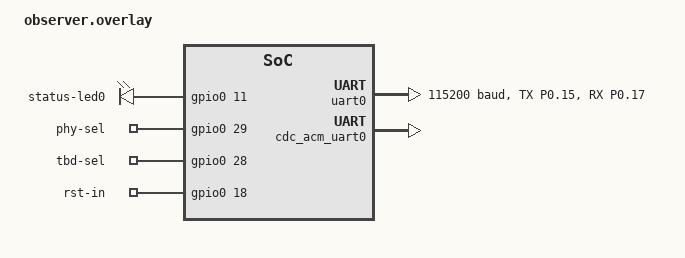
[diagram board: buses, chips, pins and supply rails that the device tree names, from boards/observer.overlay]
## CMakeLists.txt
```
cmake_minimum_required(VERSION 3.20.0)
find_package(Zephyr REQUIRED HINTS $ENV{ZEPHYR_BASE})
project(observer_board)

zephyr_include_directories(include)

FILE(GLOB app_sources src/*.c)
target_sources(app PRIVATE ${app_sources})
```

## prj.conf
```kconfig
# ===== Core =====
CONFIG_LOG=y
CONFIG_LOG_DEFAULT_LEVEL=3
CONFIG_PRINTK=y
CONFIG_MAIN_STACK_SIZE=2048
CONFIG_HEAP_MEM_POOL_SIZE=1024

# ===== Clocks =====
CONFIG_CLOCK_CONTROL=y
CONFIG_CLOCK_CONTROL_NRF_K32SRC_XTAL=y

# ===== IO / UART =====
CONFIG_GPIO=y
CONFIG_SERIAL=y
CONFIG_CONSOLE=y
CONFIG_UART_CONSOLE=y

# ===== USB (CDC-ACM) =====
CONFIG_USB_DEVICE_STACK=y
CONFIG_USB_CDC_ACM=y
CONFIG_USB_DEVICE_INITIALIZE_AT_BOOT=y

# CONFIG_USB_DEVICE_VID=0x1915
# CONFIG_USB_DEVICE_PID=0xC00A
CONFIG_USB_DEVICE_PID=0x0001
CONFIG_USB_DEVICE_PRODUCT="BLE Observer"
CONFIG_USB_DEVICE_MANUFACTURER="AERIX"


# ===== BLE 스캔 =====
CONFIG_BT=y
# 스캐너
CONFIG_BT_OBSERVER=y
# 확장 광고 수신
CONFIG_BT_EXT_ADV=y
# 스캔 설정
CONFIG_BT_SCAN_WITH_IDENTITY=n
# 메인 스택 여유
CONFIG_MAIN_STACK_SIZE=2048
```

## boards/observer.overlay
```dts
/ {
    leds {
        compatible = "gpio-leds";
        status_led0: led_0 {
            gpios = <&gpio0 11 GPIO_ACTIVE_HIGH>; /* P0.11 */
            label = "status-led0";
        };
    };

    aliases {
        led0 = &status_led0;
    };

    /* 콘솔 강제 지정 */
    chosen {
        zephyr,console = &uart0;
        zephyr,shell-uart = &uart0;
    };

    keys {
        compatible = "gpio-keys";

        phy_sel: phy_sel {
            gpios = <&gpio0 29 GPIO_ACTIVE_HIGH>; /* P0.29 */
            label = "phy-sel";
        };

        tbd_sel: tbd_sel {
            gpios = <&gpio0 28 GPIO_ACTIVE_HIGH>; /* P0.28 */
            label = "tbd-sel";
        };

        rst_in: rst_in {
            gpios = <&gpio0 18 GPIO_ACTIVE_HIGH>; /* P0.18 */
            label = "rst-in";
        };
    };
};

/* UART0 @115200: TX=P0.15, RX=P0.17 */
&uart0 {
    status = "okay";
    current-speed = <115200>;
    pinctrl-0 = <&uart0_obs_default>;
    pinctrl-1 = <&uart0_obs_sleep>;
    pinctrl-names = "default", "sleep";
};

/* Pin control groups */
&pinctrl {
    uart0_obs_default: uart0_obs_default {
        group1 {
            psels = <NRF_PSEL(UART_TX, 0, 15)>,
                    <NRF_PSEL(UART_RX, 0, 17)>;
            bias-pull-up;
        };
    };

    uart0_obs_sleep: uart0_obs_sleep {
        group1 {
            psels = <NRF_PSEL(UART_TX, 0, 15)>,
                    <NRF_PSEL(UART_RX, 0, 17)>;
            low-power-enable;
        };
    };
};

/* Enable USB device controller.*/
&zephyr_udc0 {
	cdc_acm_uart0 {
		compatible = "zephyr,cdc-acm-uart";
	};
};
```

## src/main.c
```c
/**
 * @file main.c
 * @brief Observer Board (USB CDC + UART 로그 + BLE 스캔)
 */

#include <zephyr/kernel.h>
#include <zephyr/device.h>
#include <zephyr/devicetree.h>
#include <zephyr/drivers/uart.h>
#include <zephyr/logging/log.h>
LOG_MODULE_REGISTER(main, LOG_LEVEL_INF);

#include "gpio_if.h"
#include "usb_dev.h"
#include "ble_adv.h"

/* UART0 디바이스 */
static const struct device *const uart0_dev = DEVICE_DT_GET(DT_NODELABEL(uart0));
/**
 * @brief UART 장치를 사용하여 문자열을 폴링 방식으로 출력합니다.
 * @param dev 문자열을 출력할 UART 장치 포인터.
 * @param s 출력할 Null 종료 문자열.
 */

static inline void _uart_puts(const struct device *dev, const char *s)
{
    if (!dev || !device_is_ready(dev) || !s)
        return;
    while (*s)
        uart_poll_out(dev, (unsigned char)(*s++));
}
/**
 * @brief 메인 실행 루프입
 * @return 0: 정상 종료이나 무한루프로 도달하지 않음.
 */

int main(void)
{
    /*  LED init */
    (void)gpio_if_init();

    /*  USB CDC init + DTR wait (5s) */
    Init_usbdev(5000);

    /*  Print boot message */
    const char *BOOT_MSG =
        "\r\n======================================\r\n"
        " Observer Board FW Boot Initializing\r\n"
        "======================================\r\n";
    usbdev_puts(BOOT_MSG);           /*  USB CDC 전송 */
    _uart_puts(uart0_dev, BOOT_MSG); /*  UART0   전송 */

    /*  ble 시작 */
    (void)ble_rx_start();

    /* 디버깅용 코드 */


    while (1)
    {
        gpio_if_led_toggle();
        k_sleep(K_SECONDS(1));
    }
    return 0;
}
```

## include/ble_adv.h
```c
/**
 * @file ble_adv.h
 * @brief BLE Observer (scan) for Company ID 0xFFFF
 */
#pragma once

/** * @brief Bluetooth를 활성화하고 지정된 파라미터로 BLE Active Scan을 시작합니다.
 * @return 0: 성공, 음수: 실패 (bt_enable 또는 스캔 시작 오류)
 */
int ble_rx_start(void); /** bt_enable + scan start */
```

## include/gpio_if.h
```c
/**
 * @file gpio_if.h
 * @brief LED GPIO abstraction
 */
#pragma once
#include <zephyr/kernel.h>

/**
 * @brief LED GPIO 인터페이스를 초기화하고 핀을 출력 비활성(INACTIVE) 상태로 설정합니다.
 * @return 0 이상: 성공, 음수: 실패 (-ENODEV, 설정 오류 등)
 */
int gpio_if_init(void);

/**
 * @brief LED를 웁니다 (ACTIVE 상태로 설정).
 */
void gpio_if_led_on(void);

/**
 * @brief LED를 끕니다 (INACTIVE 상태로 설정).
 */
void gpio_if_led_off(void);

/**
 * @brief LED의 현재 상태를 토글합니다.
 */
void gpio_if_led_toggle(void);
```

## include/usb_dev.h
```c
/**
 * @file usb_dev.h
 * @brief USB CDC device helper (enable + DTR wait + write)
 */
#pragma once
#include <zephyr/kernel.h>
#include <stdbool.h>

/** * @brief USB 장치를 활성화하고 호스트가 DTR 신호를 보낼 때까지 지정된 시간(ms) 동안 대기합니다.
 * If no CDC present, it safely returns.
 * @param timeout_ms DTR 신호를 기다릴 최대 시간 (밀리초).
 */
void Init_usbdev(int32_t timeout_ms);

/** * @brief C-문자열을 USB CDC 포트로 출력합니다 (CDC가 준비되지 않은 경우 아무 작업도 하지 않습니다).
 * @param s USB CDC로 출력할 Null 종료 문자열.
 */
void usbdev_puts(const char *s);

/** * @brief USB CDC 장치가 존재하고 준비되었는지 확인합니다 (DTR 상태는 요구하지 않음).
 * @return true: CDC 장치가 존재하고 초기화 준비됨, false: 그렇지 않음.
 */
bool usbdev_is_ready(void);
```

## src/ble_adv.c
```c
/**
 * @file ble_adv.c
 * @brief BLE active scan + filter CID=0xFFFF, parse adv data
 */

#include "ble_adv.h"

#include <zephyr/kernel.h>
#include <zephyr/logging/log.h>
#include <zephyr/bluetooth/bluetooth.h>
#include <zephyr/bluetooth/hci.h>
#include <zephyr/sys/byteorder.h>
#include <string.h>

LOG_MODULE_REGISTER(ble_adv, LOG_LEVEL_INF);

/** ----- Common defs ----- */
#define CID_TARGET 0xFFFF // 제조사 ID
#define NAME_BUF_LEN 32   // 장치 이름 버퍼의 최대 길이

/** @brief 센서 광고 데이터 구조체 */
struct sensor_adv_data_t
{
    uint16_t company_id;       // 제조사 ID.
    uint8_t structure_version; // 데이터 구조체 버전.
    uint8_t model_code;        // 장치 모델 코드.
    uint8_t device_status;     // 장치 상태 플래그.
    uint8_t error_info;        // 에러 정보 코드.
    int8_t mcu_temperature;    // MCU 온도 (°C).
    uint8_t battery_percent;   // 배터리 잔량 (%).
    uint8_t value_presence_mask;
    int32_t sensor_value_1;
    int32_t sensor_value_2;
    int32_t sensor_value_3;
    int32_t sensor_value_4;
    int32_t sensor_value_5;
    int32_t sensor_value_6;
} __packed;

#define PHASE2_SR_LEN (2 + 1 + 1 + 1 + 2) // 스캔 응답(SR) 데이터의 길이(CID + ver + reg + model + fw)

/** @brief BLE 광고/스캔 응답 파싱 결과를 저장하는 컨텍스트 구조체 */
struct parse_ctx
{
    bool mfg_match;          // CID_TARGET과 제조사 데이터가 일치하는지 여부.
    bool is_phase1_struct;   // 데이터 길이가 확장광고 구조체와 일치하는지 여부.
    bool is_phase2_meta;     // 데이터 길이가 스캔응답 데이터와 일치하는지 여부.
    char name[NAME_BUF_LEN]; // 장치 이름 버퍼.
    bool has_name;           // 장치 이름(AD Type 0x08 또는 0x09)이 발견되었는지 여부.
    struct sensor_adv_data_t s1;
    uint8_t s2_ver, s2_reg_mode, s2_model, s2_fw_major, s2_fw_minor;
};

/**
 * @brief BLE 광고 타입 코드를 문자열로 변환합니다.
 * @param type BLE 광고 타입 코드 (예: BT_GAP_ADV_TYPE_ADV_IND).
 * @return 광고 타입을 나타내는 문자열.
 */
static inline const char *adv_type_str(uint8_t type)
{
    switch (type) // 수신된 광고의 타입 코드를 검사합니다.
    {
    case BT_GAP_ADV_TYPE_ADV_IND: // 연결 가능하고 스캔 가능한 비지향성 광고.
        return "ADV_IND";
    case BT_GAP_ADV_TYPE_ADV_DIRECT_IND: // 연결 가능한 지향성 광고.
        return "ADV_DIRECT_IND";
    case BT_GAP_ADV_TYPE_ADV_SCAN_IND: // 연결 불가능하고 스캔 가능한 비지향성 광고.
        return "ADV_SCAN_IND";
    case BT_GAP_ADV_TYPE_ADV_NONCONN_IND: // 연결 및 스캔 불가능한 비지향성 광고.
        return "ADV_NONCONN_IND";
    case BT_GAP_ADV_TYPE_SCAN_RSP: // 스캔 응답.
        return "SCAN_RSP";
    case BT_GAP_ADV_TYPE_EXT_ADV: // 확장 광고 (LE Coded PHY 등).
        return "EXT_ADV";
    default: // 알려지지 않은 타입.
        return "UNKNOWN";
    }
}
/**
 * @brief 주어진 바이트 배열을 16진수 문자열로 출력합니다.
 * @param p 출력할 바이트 배열의 포인터.
 * @param len 출력할 바이트의 길이.
 */

static void dump_hex(const uint8_t *p, size_t len)
{
    for (size_t i = 0; i < len; i++)
    {
        printk("%02X", p[i]);
        if (i + 1 < len)
            printk(" ");
    }
    printk("\n");
}
/**
 * @brief BLE 광고 데이터 구조체를 파싱하고, 특정 Company ID(0xFFFF)와 데이터 구조체를 찾습니다.
 * @param data 파싱할 광고 데이터 구조체 (type/data/data_len).
 * @param user_data 파싱 결과를 저장할 parse_ctx 구조체 포인터.
 * @return true: 파싱 계속, false: 파싱 중지.
 */

static bool parse_cb(struct bt_data *data, void *user_data)
{
    struct parse_ctx *ctx = user_data;

    switch (data->type) // 광고 데이터 타입 검사
    {
    case BT_DATA_MANUFACTURER_DATA: // AD Type 0xFF인 경우
        if (data->data_len >= 2)
        {
            uint16_t cid = sys_get_le16(data->data);
            if (cid == CID_TARGET) //  0xFFFF
            {
                ctx->mfg_match = true;

                if (data->data_len == sizeof(struct sensor_adv_data_t)) // 데이터 길이가 광고 구조체와 일치하면
                {
                    memcpy(&ctx->s1, data->data, sizeof(ctx->s1));
                    ctx->is_phase1_struct = true;
                }
                else if (data->data_len == PHASE2_SR_LEN) // 데이터 길이가 스캔응답 데이터 길이와 일치하면
                {
                    const uint8_t *q = data->data;
                    ctx->s2_ver = q[2];
                    ctx->s2_reg_mode = q[3];
                    ctx->s2_model = q[4];
                    ctx->s2_fw_major = q[5];
                    ctx->s2_fw_minor = q[6];
                    ctx->is_phase2_meta = true;
                }
            }
        }
        break;

    case BT_DATA_NAME_COMPLETE:  // 완전한 로컬 이름 (AD Type 0x09)
    case BT_DATA_NAME_SHORTENED: // 단축된 로컬 이름 (AD Type 0x08)
    {
        size_t n = MIN((size_t)data->data_len, (size_t)(NAME_BUF_LEN - 1));
        memcpy(ctx->name, data->data, n);
        ctx->name[n] = '\0';
        ctx->has_name = true;
        break;
    }

    default: // 그 외의 광고 데이터 타입 무시
        break;
    }

    return true;
}
/**
 * @brief BLE 스캔 결과를 처리하는 콜백 함수입니다. CID=0xFFFF에 매치하는 경우 정보를 로그로 출력합니다.
 * @param addr 광고를 보낸 장치의 주소 정보.
 * @param rssi 수신 신호 강도 지표 (dBm).
 * @param type 광고 타입 (e.g., ADV_IND, SCAN_RSP).
 * @param ad 광고 데이터와 스캔 응답 데이터를 포함하는 버퍼.
 */

static void device_found(const bt_addr_le_t *addr, int8_t rssi, uint8_t type,
                         struct net_buf_simple *ad)
{
    struct parse_ctx ctx = {0};

    bt_data_parse(ad, parse_cb, &ctx); // 수신된 광고 데이터(ad)를 parse_cb를 사용하여 파싱
    if (!ctx.mfg_match)                // 제조사 ID와 일치하는 데이터가 없으면
        return;

    char addr_str[BT_ADDR_LE_STR_LEN];
    bt_addr_le_to_str(addr, addr_str, sizeof(addr_str));

    LOG_INF("[%s] match CID=0x%04X RSSI=%d from %s len=%u",
            adv_type_str(type), CID_TARGET, rssi, addr_str, ad->len);

    if (ctx.is_phase1_struct) // Phase 1 데이터 구조체와 일치하면
    {
        struct sensor_adv_data_t *p = &ctx.s1;
        LOG_INF("  Phase1: ver=%u model=%u status=0x%02X err=0x%02X temp=%d batt=%u%% mask=0x%02X",
                p->structure_version, p->model_code, p->device_status, p->error_info,
                p->mcu_temperature, p->battery_percent, p->value_presence_mask);

        LOG_INF("  s1=%d s2=%d s3=%d s4=%d s5=%d s6=%d",
                (int)sys_le32_to_cpu(p->sensor_value_1),
                (int)sys_le32_to_cpu(p->sensor_value_2),
                (int)sys_le32_to_cpu(p->sensor_value_3),
                (int)sys_le32_to_cpu(p->sensor_value_4),
                (int)sys_le32_to_cpu(p->sensor_value_5),
                (int)sys_le32_to_cpu(p->sensor_value_6));
    }

    if (ctx.is_phase2_meta) // 스캔응답
    {
        if (ctx.has_name)
        {
            LOG_INF("  name=\"%s\"", ctx.name); // 디바이스 이름이 있으면 출력
        }
        LOG_INF("  Phase2: ver=%u reg=%u model=%u fw=%u.%u",
                ctx.s2_ver, ctx.s2_reg_mode, ctx.s2_model,
                ctx.s2_fw_major, ctx.s2_fw_minor);
    }

    if (!ctx.is_phase1_struct && !ctx.is_phase2_meta)
    {
        printk("  MFG raw: ");
        dump_hex(ad->data, ad->len);
    }
}
/**
 * @brief 정의된 스캔 파라미터(Active Scan)로 BLE 스캔을 시작합니다.
 * @return 0: 성공, 음수: 실패.
 */

static int start_scan(void)
{
    struct bt_le_scan_param param = {
        .type = BT_LE_SCAN_TYPE_ACTIVE, // 스캔 응답 요청
        .options = BT_LE_SCAN_OPT_NONE,
        .interval = 0x0060, // 스캔 간격 120MS
        .window = 0x0030,   // 스캔 윈도우 60MS
    };
    return bt_le_scan_start(&param, device_found); // 콜백 함수 등록
}
/**
 * @brief Bluetooth 스택 초기화가 완료된 후 호출되는 콜백 함수입니다. 성공 시 스캔을 시작합니다.
 * @param err 초기화 결과 코드.
 */

static void bt_ready(int err)
{
    if (err)
    {
        LOG_ERR("Bluetooth init failed (err %d)", err);
        return;
    }
    LOG_INF("Bluetooth initialized, starting scan...");
    err = start_scan();
    if (err)
    {
        LOG_ERR("Scan start failed (err %d)", err);
    }
}
/**
 * @brief Bluetooth 스택 활성화를 시도하고, 성공 시 스캔 시작 콜백 함수를 등록합니다.
 * @return 0: 성공, 음수: 실패 (bt_enable 오류).
 */

int ble_rx_start(void)
{
    LOG_INF("BLE Receiver starting...");
    int err = bt_enable(bt_ready);
    if (err)
    {
        LOG_ERR("bt_enable failed (err %d)", err);
        return err;
    }
    return 0;
}
```

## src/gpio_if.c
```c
/**
 * @file gpio_if.c
 * @brief LED GPIO implementation (P0.11 alias: led0)
 */

#include "gpio_if.h"
#include <zephyr/device.h>
#include <zephyr/devicetree.h>
#include <zephyr/drivers/gpio.h>
#include <zephyr/sys/printk.h>

#define LED_NODE DT_ALIAS(led0)
#if !DT_NODE_HAS_STATUS(LED_NODE, okay)
#error "No LED alias 'led0' defined in overlay"
#endif

static const struct gpio_dt_spec s_led = GPIO_DT_SPEC_GET(LED_NODE, gpios);
/**
 * @brief LED GPIO 포트를 초기화하고 핀을 출력 비활성(INACTIVE) 상태로 설정합니다.
 * @return 0: 성공, 음수: 실패.
 */

int gpio_if_init(void)
{
    if (!device_is_ready(s_led.port))
    {
        printk("LED port not ready.\n");
        return -ENODEV;
    }
    int rc = gpio_pin_configure_dt(&s_led, GPIO_OUTPUT_INACTIVE);
    if (rc)
        printk("LED configure failed: %d\n", rc);
    return rc;
}
/**
 * @brief LED 켜짐
 */

void gpio_if_led_on(void) { gpio_pin_set_dt(&s_led, 1); }
/**
 * @brief LED 꺼짐
 */
void gpio_if_led_off(void) { gpio_pin_set_dt(&s_led, 0); }
/**
 * @brief LED 상태 토글
 */
void gpio_if_led_toggle(void) { gpio_pin_toggle_dt(&s_led); }
```

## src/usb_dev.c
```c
/**
 * @file usb_dev.c
 * @brief USB CDC helper implementation
 */

#include "usb_dev.h"

#include <zephyr/device.h>
#include <zephyr/drivers/uart.h>
#include <zephyr/usb/usb_device.h>
#include <zephyr/sys/printk.h>

#include <zephyr/logging/log.h>
LOG_MODULE_REGISTER(usb_dev, LOG_LEVEL_INF);

/** USB CDC UART 장치 */
static const struct device *const s_cdc = DEVICE_DT_GET_ONE(zephyr_cdc_acm_uart);
static bool s_have_cdc = false;

/* 수신 라인 버퍼: 개행 단위로 로그 출력 */
#define USB_RX_LINE_MAX 128
static char s_rx_line[USB_RX_LINE_MAX];
static size_t s_rx_len = 0;

/**
 * @brief UART 장치를 사용하여 문자열을 폴링 방식으로 출력합니다.
 * @param dev 문자열을 출력할 UART 장치 포인터.
 * @param s 출력할 Null 종료 문자열.
 */

static inline void _uart_puts(const struct device *dev, const char *s)
{
    if (!dev || !device_is_ready(dev) || !s)
        return;
    while (*s)
        uart_poll_out(dev, (unsigned char)(*s++));
}

/**
 * @brief USB CDC 수신 IRQ 콜백.
 *        엔터 또는 버퍼 가득 차면 LOG로 출력한다.
 */
static void _cdc_irq_handler(const struct device *dev, void *user)
{
    ARG_UNUSED(user);

    while (uart_irq_update(dev) && uart_irq_is_pending(dev)) {

        if (uart_irq_rx_ready(dev)) {
            uint8_t buf[64];
            int rd = uart_fifo_read(dev, buf, sizeof(buf));
            if (rd < 0) rd = 0;

            for (int i = 0; i < rd; i++) {
                char c = (char)buf[i];

                /* 버퍼에 저장 */
                if (s_rx_len < (USB_RX_LINE_MAX - 1)) {
                    s_rx_line[s_rx_len++] = c;
                }

                /* 엔터 입력, 출력 */
                if (c == '\r') {
                    s_rx_line[s_rx_len] = '\0';
                    LOG_INF("USB RX: %s", s_rx_line);
                    s_rx_len = 0;
                }
            }

            /* 버퍼 가득 참, 출력 후 초기화 */
            if (s_rx_len >= (USB_RX_LINE_MAX - 1)) {
                s_rx_line[s_rx_len] = '\0';
                LOG_INF("USB RX: %s", s_rx_line);
                s_rx_len = 0;
            }
        }

        if (uart_irq_tx_ready(dev)) {
            uart_irq_tx_disable(dev);
        }
    }
}

/**
 * @brief USB 장치를 활성화하고 호스트가 DTR 신호를 보낼 때까지 지정된 시간(ms) 동안 대기합니다.
 * @param timeout_ms DTR 신호를 기다릴 최대 시간 (밀리초).
 */

void Init_usbdev(int32_t timeout_ms)
{
    s_have_cdc = (s_cdc && device_is_ready(s_cdc));
    if (!s_have_cdc)
    {
        LOG_INF("CDC device not ready, skip USB prints.\n");
        return;
    }

    int ret = usb_enable(NULL);
    if (ret)
    {
        LOG_INF("usb_enable failed: %d\n", ret);
        return;
    }

    int64_t start = k_uptime_get();
    uint32_t dtr = 0U;
    LOG_INF("Waiting for USB DTR up to %d ms...\n", timeout_ms);
    while ((k_uptime_get() - start) < timeout_ms)
    {
        (void)uart_line_ctrl_get(s_cdc, UART_LINE_CTRL_DTR, &dtr);
        if (dtr)
            break;
        k_msleep(100);
    }
    if (dtr)
    {
        (void)uart_line_ctrl_set(s_cdc, UART_LINE_CTRL_DCD, 1);
        (void)uart_line_ctrl_set(s_cdc, UART_LINE_CTRL_DSR, 1);
        k_msleep(100);
        LOG_INF("USB terminal connected.\n");
    }
    else
    {
        LOG_INF("USB DTR timeout. Continue without terminal.\n");
    }


    if (!s_have_cdc) return;

    /* IRQ 콜백 등록 및 RX 인터럽트 활성화 */
    uart_irq_callback_set(s_cdc, _cdc_irq_handler);
    uart_irq_rx_enable(s_cdc);

}
/**
 * @brief 문자열을 내부적으로 캐시된 USB CDC 장치로 출력합니다.
 * @param s USB CDC로 출력할 Null 종료 문자열.
 */

void usbdev_puts(const char *s)
{
    if (!s_have_cdc)
        return;
    _uart_puts(s_cdc, s);
}
/**
 * @brief USB CDC 장치가 존재하고 준비되었는지 확인합니다.
 * @return true: CDC 장치가 존재하고 초기화 준비됨, false: 그렇지 않음.
 */

bool usbdev_is_ready(void)
{
    return s_have_cdc;
}
```
